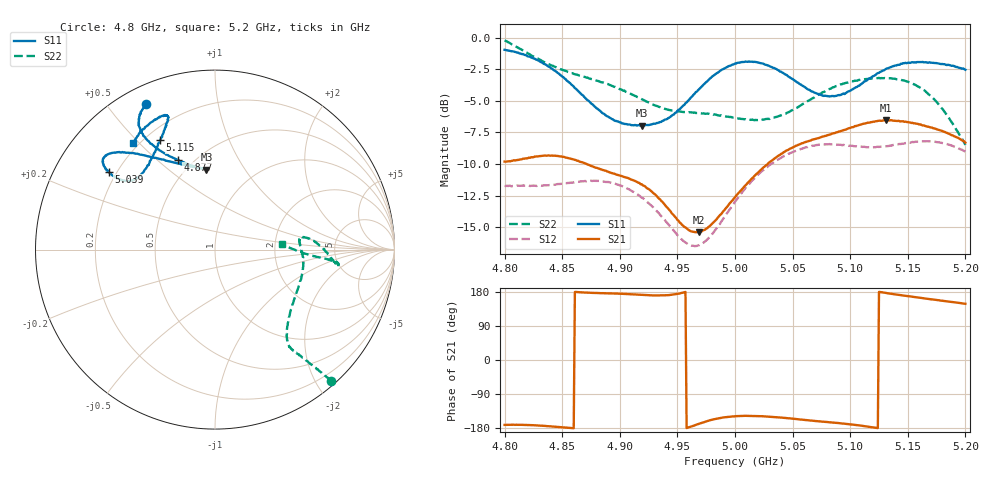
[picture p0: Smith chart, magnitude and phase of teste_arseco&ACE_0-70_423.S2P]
! Network Analyzer HP8722D
! Hewlett-Packard
! Data name: Linha & Wilkinson
! Saver's name: Rodrigo Anjos
! Comments: Teste da utilização de aquisição
! continua pelo VNA HP8722D
! Time and date: 8/5/2025 16:17
!  Frequency  S11  S21  S12  S22
# HZ  S  MA R 50
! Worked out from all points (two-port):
!   401 points, 4.8 GHz to 5.2 GHz, reference 50 ohm
!   highest |S21| = -6.52 dB at 5.131 GHz (marker M1); lowest = -15.4 dB at 4.969 GHz (marker M2)
!   |S21| within 3 dB of the highest: 4.82 GHz to 4.855 GHz (34.41 MHz wide, 0.711 % of centre); 5.035 GHz to end of sweep
!   lowest |S11| = -7.0 dB at 4.919 GHz (marker M3), VSWR 2.63, Z = 30.8 + j34.4 ohm
!   |S11| at or under -10 dB: nowhere
!   |S22| runs from -8.5 to -0.2 dB; largest |S21 - S12| = 0.83
!   S11 on the Smith chart (normalised r, x): 4.8 GHz: 0.08, +0.63; 4.877 GHz: 0.41, +0.58; 5.039 GHz: 0.17, +0.32; 5.115 GHz: 0.26, +0.59; 5.2 GHz: 0.18, +0.48
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4.8e9  0.8955 115.3  0.3235 -171.2  0.2594 -86.5  0.9753 -48.5
4.834e9  0.7881 121.9  0.3416 -173.8  0.2604 -77.5  0.8028 -50.5
4.85e9  0.7018 121.4  0.3379 -177.7  0.2645 -72.5  0.7465 -51.4
4.867e9  0.5953 117.3  0.3218 178.4  0.27 -68.5  0.7043 -52.4
4.877e9  0.541 112.7  0.3088 177.1  0.2715 -67.6  0.6839 -52.5
4.901e9  0.4618 99.8  0.2839 174.9  0.2596 -68.4  0.6241 -50.3
4.919e9  0.4484 96.1  0.2631 172.1  0.2329 -70.3  0.571 -44.4
4.934e9  0.4619 100.5  0.2309 170.2  0.202 -70.5  0.5328 -36.4
4.957e9  0.5504 117.1  0.1776 179.5  0.1549 -58.7  0.5083 -21.4
4.969e9  0.6264 124.6  0.1698 -168.2  0.1511 -44.9  0.5036 -14.6
5e9  0.7898 137.1  0.2338 -148.7  0.2248 -21.9  0.481 -0.3
5.019e9  0.8002 141.3  0.29 -147.9  0.2836 -19.7  0.4722 5.6
5.039e9  0.735 143.7  0.3437 -151.7  0.3328 -20.1  0.4913 8.0
5.067e9  0.6123 141.7  0.395 -160.0  0.3737 -22.6  0.5752 3.0
5.087e9  0.5879 132.8  0.4201 -165.8  0.3782 -25.5  0.6414 -3.3
5.115e9  0.682 116.6  0.4608 -175.8  0.3686 -28.5  0.6868 -7.1
5.131e9  0.7528 111.0  0.4722 177.0  0.3719 -30.2  0.6913 -6.7
5.134e9  0.7609 110.3  0.4704 175.6  0.3732 -30.6  0.691 -6.5
5.146e9  0.7932 109.7  0.4671 170.1  0.3803 -32.9  0.6783 -5.8
5.163e9  0.8022 112.6  0.4496 163.1  0.389 -37.8  0.623 -4.8
5.179e9  0.7863 118.4  0.4289 156.7  0.3838 -43.0  0.5292 -3.3
5.2e9  0.747 127.6  0.3846 148.3  0.3543 -48.8  0.3766 4.6
